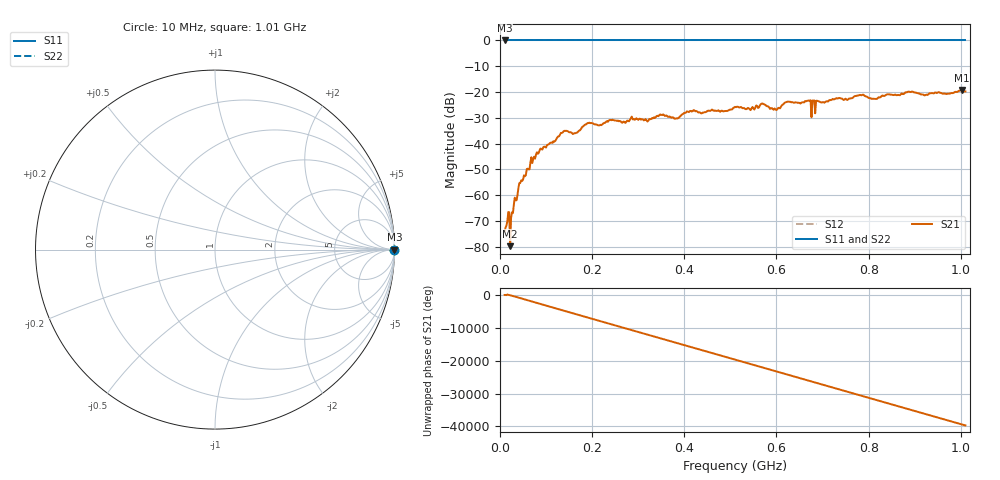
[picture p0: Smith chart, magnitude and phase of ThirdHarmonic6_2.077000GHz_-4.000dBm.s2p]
! 8/17/2025 12:52:14 AM
! C:\ANRITSUVNA\TEMP\TEMP.S2P
! CHANNEL.1
! TR.MEASUREMENT
! RAW.DATA
! RF.CORRECTION.OFF
! AVERAGING.OFF
! IF.BANDWIDTH: 5KHZ
! SWEEPTYPE:  FREQ.SWEEP(Linear)
! Reference Plane Port Info
! PORT:  PORT1  PORT2
! DISTANCE:  0  m  0  m
! TIME:  0  s  0  s
! PHASE.OFFSET:  0  deg.  0  deg.
! LOSS:  0  dB  0  dB
! REF.LOSS:  0  dB  0  dB
! REF.FREQ:  0  Hz  0  Hz
! Power Info
! POWER:  -20  dBm  -20  dBm
! EFF.POWER:  -20  dBm  -20  dBm
! SOURCE.ATTEN:  0  dB  0  dB
! TEST.ATTEN:  0  dB  0  dB
# GHZ S RI R 50.0
! FREQ.GHZ  S11RE  S11IM  S21RE  S21IM  S12RE  S12IM  S22RE  S22IM
!; PortSelection: Port_12
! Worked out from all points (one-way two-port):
!   501 points, 10 MHz to 1.01 GHz, reference 50 ohm
!   highest |S21| = -19.23 dB at 1.002 GHz (marker M1); lowest = -79.8 dB at 22 MHz (marker M2)
!   lowest |S11| = 0.0 dB at 10 MHz (marker M3)
!   |S11| at or under -10 dB: nowhere
!   |S22| runs from 0.0 to 0.0 dB; largest |S21 - S12| = 1.1
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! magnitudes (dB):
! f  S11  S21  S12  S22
! 10 MHz  0.0  -74.0  0.0  0.0
! 16 MHz  0.0  -70.0  0.0  0.0
! 18 MHz  0.0  -66.5  0.0  0.0
! 22 MHz  0.0  -79.8  0.0  0.0
! 26 MHz  0.0  -66.6  0.0  0.0
! 28 MHz  0.0  -67.0  0.0  0.0
! 44 MHz  0.0  -55.3  0.0  0.0
! 70 MHz  0.0  -47.6  0.0  0.0
! 136 MHz  0.0  -35.8  0.0  0.0
! 162 MHz  0.0  -36.0  0.0  0.0
! 178 MHz  0.0  -33.6  0.0  0.0
! 344 MHz  0.0  -29.4  0.0  0.0
! 382 MHz  0.0  -30.2  0.0  0.0
! 410 MHz  0.0  -27.8  0.0  0.0
! 510 MHz  0.0  -25.8  0.0  0.0
! 570 MHz  0.0  -24.5  0.0  0.0
! 598 MHz  0.0  -26.7  0.0  0.0
! 624 MHz  0.0  -23.7  0.0  0.0
! 678 MHz  0.0  -23.3  0.0  0.0
! 844 MHz  0.0  -20.9  0.0  0.0
! 1.002 GHz  0.0  -19.2  0.0  0.0
! 1.01 GHz  0.0  -19.8  0.0  0.0
